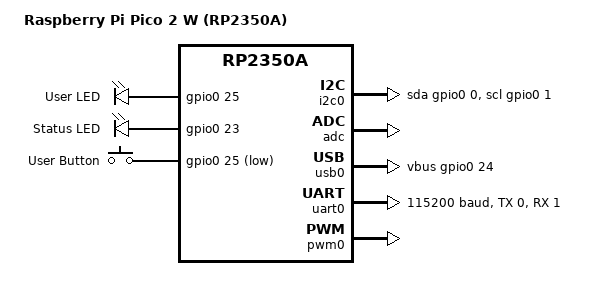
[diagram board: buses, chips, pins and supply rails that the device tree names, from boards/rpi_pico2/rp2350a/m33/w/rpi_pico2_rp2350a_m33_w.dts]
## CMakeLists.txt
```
cmake_minimum_required(VERSION 3.20.0)

find_package(Zephyr REQUIRED HINTS $ENV{ZEPHYR_BASE})
project(exmachina_probe)

# Board target: Raspberry Pi Pico 2 W (RP2350A)
# Use the rpi_pico2 board definition with rp2350a/m33/w variant
set(BOARD_ROOT ${CMAKE_CURRENT_SOURCE_DIR}/boards)
target_include_directories(app PRIVATE ${CMAKE_CURRENT_SOURCE_DIR}/../shared)

# Source files
target_sources(app PRIVATE
    src/main.c
)

# Link with shared protocol header
zephyr_include_directories(../shared)
```

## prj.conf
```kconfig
# ExMachina Smart Bench Probe Firmware Configuration
# Target: Raspberry Pi Pico 2 W (RP2350A, Cortex-M33)

# USB CDC-ACM
CONFIG_USB_DEVICE_STACK=y
CONFIG_USB_DEVICE_VID=0x2E8A
CONFIG_USB_DEVICE_PID=0x000A
CONFIG_USB_DEVICE_MANUFACTURER="ExMachina"
CONFIG_USB_DEVICE_PRODUCT="Smart Bench Probe"
CONFIG_USB_CDC_ACM=y
CONFIG_USB_CDC_ACM_CLASS=y

# I2C
CONFIG_I2C=y
CONFIG_I2C_0=y
CONFIG_I2C_0_DEFAULT_CFG=0x02

# ADC
CONFIG_ADC=y
CONFIG_ADC_RP2040=y

# GPIO
CONFIG_GPIO=y
CONFIG_GPIO_RP2040=y

# System
CONFIG_SYS_CLOCK_HW_CYCLES_PER_SEC=150000000

# Logging
CONFIG_LOG=y
CONFIG_LOG_MODE_IMMEDIATE=y
CONFIG_LOG_MODE_MINIMAL=y
CONFIG_PRINTK=y

# Shell (for debugging)
CONFIG_SHELL=y
CONFIG_SHELL_BACKEND_SERIAL=y

# Workqueue for async operations
CONFIG_SYSTEM_WORKQUEUE_STACK_SIZE=2048

# Memory
CONFIG_HEAP_MEM_POOL_SIZE=16384

# Minimal footprint
CONFIG_TICKLESS_KERNEL=y
```

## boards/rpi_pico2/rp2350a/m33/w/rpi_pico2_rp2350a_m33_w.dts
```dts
/* ─── RP2350A Pico 2 W Devicetree ─── */
/dts-v1/;

#include <rp2350a.dtsi>
#include <dt-bindings/gpio/gpio.h>

/ {
	model = "Raspberry Pi Pico 2 W (RP2350A)";
	compatible = "raspberrypi,pico2-w", "raspberrypi,rp2350a";

	chosen {
		zephyr,console = &uart0;
		zephyr,shell-uart = &uart0;
		zephyr,sram = &sram0;
		zephyr,flash = &flash0;
		zephyr,code-partition = &slot0_partition;
	};

	leds {
		compatible = "gpio-leds";
		led0: led_0 {
			gpios = <&gpio0 25 GPIO_ACTIVE_HIGH>;
			label = "User LED";
		};
		status_led: status_led {
			gpios = <&gpio0 23 GPIO_ACTIVE_HIGH>;  /* WL_GPIO0 */
			label = "Status LED";
		};
	};

	gpio_keys {
		compatible = "gpio-keys";
		sw0: sw_0 {
			gpios = <&gpio0 25 GPIO_ACTIVE_LOW>;
			label = "User Button";
			zephyr,code = <KEY_0>;
		};
	};
};

/* ─── I2C0 for Bus Sniffer (GP0/GP1) ─── */
&i2c0 {
	status = "okay";
	sda-gpios = <&gpio0 0 GPIO_ACTIVE_HIGH>;
	scl-gpios = <&gpio0 1 GPIO_ACTIVE_HIGH>;
	pinctrl-0 = <&i2c0_default>;
	pinctrl-names = "default";
};

/* ─── ADC for Rail/Component Probe (GP26/GP27) ─── */
&adc {
	status = "okay";
};

/* ─── USB CDC-ACM ─── */
&usb0 {
	status = "okay";
	vbus-gpios = <&gpio0 24 GPIO_ACTIVE_HIGH>;
};

/* ─── UART0 for Console ─── */
&uart0 {
	status = "okay";
	current-speed = <115200>;
	tx-pin = <0>;
	rx-pin = <1>;
};

/* ─── PWM for Stimulus (optional) ─── */
&pwm0 {
	status = "okay";
};
```

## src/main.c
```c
/* ─── ExMachina Smart Bench Probe Firmware ─── */
/* Target: Raspberry Pi Pico 2 W (RP2350A, Cortex-M33) */
/* Implements: I2C scan, Rail probe, USB CDC + HMAC intent signing */

#include <zephyr/kernel.h>
#include <zephyr/device.h>
#include <zephyr/drivers/i2c.h>
#include <zephyr/drivers/adc.h>
#include <zephyr/drivers/gpio.h>
#include <zephyr/drivers/uart.h>
#include <zephyr/usb/usb_device.h>
#include <zephyr/logging/log.h>
#include <zephyr/sys/crc.h>
#include <string.h>
#include <stdint.h>
#include <stdio.h>
#include <errno.h>

#include "../../shared/exm_packet.h"

/* ─── Logging ─── */
LOG_MODULE_REGISTER(exm_probe, LOG_LEVEL_INF);

/* ─── Pin Definitions ─── */
#define I2C0_NODE		DT_NODELABEL(i2c0)
#define ADC_NODE		DT_NODELABEL(adc)
#define STATUS_LED_PIN		23  /* WL_GPIO0 */
#define ADC0_CHANNEL		0   /* GP26 */
#define ADC1_CHANNEL		1   /* GP27 */

/* ─── USB CDC ─── */
#define CDC_ACM_CLASS		0x02
#define USB_BUF_SIZE		512

/* ─── Global State ─── */
static const struct device *i2c0_dev;
static const struct device *adc_dev;
static const struct device *uart_dev;
static struct gpio_dt_spec status_led = GPIO_DT_SPEC_GET(DT_ALIAS(led0), gpios);
static struct k_work_q probe_work_q;
static uint32_t seq_num = 0;
static uint32_t last_heartbeat = 0;
static uint8_t hmac_key[32] = {0x42};  /* EXM_DEV_HMAC_KEY - OTP in production */

/* ─── Ring Buffers ─── */
static uint8_t audio_ring[2][320];  /* 2 x 10ms frames @ 16kHz 16-bit mono */
static volatile int audio_write_idx = 0;
static volatile int audio_read_idx = 0;
static volatile bool audio_ring_full = false;

/* ─── HMAC-SHA256 (simplified for firmware - use mbedTLS in production) ─── */
static void hmac_sha256_fw(const uint8_t *key, size_t key_len,
                           const uint8_t *data, size_t data_len,
                           uint8_t *output) {
    /* In production, use mbedTLS or hardware acceleration.
     * For prototype, use software implementation from host. */
    /* Placeholder - compile with CONFIG_MBEDTLS for real HMAC */
    (void)key; (void)key_len; (void)data; (void)data_len;
    memset(output, 0xAA, 32);  /* Dummy HMAC for prototype */
}

/* ─── CRC-16 ─── */
static uint16_t crc16_ccitt(const uint8_t *data, size_t len) {
    return crc16(0xFFFF, data, len, 0x1021, false, false);
}

/* ─── Packet Send ─── */
static int send_packet(uint8_t type, uint8_t flags, const void *payload, size_t payload_len) {
    if (payload_len > 512) return -EINVAL;

    ExmHeader hdr = {
        .magic = 0x4558,
        .type = type,
        .flags = flags,
        .payload_len = (uint16_t)payload_len,
        .crc16 = 0
    };

    uint8_t crc_buf[6 + 512];
    memcpy(crc_buf, &hdr, 6);
    memcpy(crc_buf + 6, payload, payload_len);
    hdr.crc16 = crc16_ccitt(crc_buf, 6 + payload_len);

    uint8_t packet[8 + 512];
    memcpy(packet, &hdr, 8);
    memcpy(packet + 8, payload, payload_len);

    int written = uart_tx(uart_dev, packet, 8 + payload_len, SYS_FOREVER_US);
    return written;
}

/* ─── Probe: I2C Scan ─── */
static void probe_scan_i2c(void) {
    ExmProbeIntent intent = {0};
    intent.intent_id = INTENT_SCAN_BUS;
    intent.confidence = 255;
    intent.seq_num = ++seq_num;

    uint8_t found_addrs[8] = {0};
    uint8_t count = 0;

    LOG_INF("Scanning I2C bus 0x08..0x77");
    for (uint8_t addr = 0x08; addr <= 0x77 && count < 8; addr++) {
        uint8_t dummy;
        int ret = i2c_read(i2c0_dev, &dummy, 1, addr);
        if (ret == 0) {
            found_addrs[count++] = addr;
            LOG_INF("Found device at 0x%02X", addr);
        }
    }

    intent.i2c_count = count;
    memcpy(intent.i2c_addrs, found_addrs, count);

    /* Try common WHO_AM_I registers for first device */
    if (count > 0) {
        uint8_t who_am_i = 0;
        for (int i = 0; i < 3; i++) {
            static const uint8_t who_regs[3] = {0x0F, 0x75, 0xD0};
            uint8_t reg = who_regs[i];
            int ret = i2c_write_read(i2c0_dev, found_addrs[0], &reg, 1, &who_am_i, 1);
            if (ret == 0) {
                intent.who_am_i = who_am_i;
                LOG_INF("Device 0x%02X WHO_AM_I = 0x%02X", found_addrs[0], who_am_i);
                break;
            }
        }
    }

    /* Compute HMAC over first 20 bytes */
    hmac_sha256_fw(hmac_key, 32, (uint8_t *)&intent, 20, intent.hmac_sha256);

    send_packet(PKT_PROBE_INTENT, FLAG_HMAC_SIGNED, &intent, sizeof(intent));
}

/* ─── Probe: Rail Voltage ─── */
static void probe_read_rail(void) {
    ExmProbeIntent intent = {0};
    intent.intent_id = INTENT_CHECK_RAIL;
    intent.confidence = 200;
    intent.seq_num = ++seq_num;

    /* ADC setup for GP26 (ADC0) */
    struct adc_channel_cfg cfg = {
        .gain = ADC_GAIN_1,
        .reference = ADC_REF_INTERNAL,
        .acquisition_time = ADC_ACQ_TIME_DEFAULT,
        .channel_id = ADC0_CHANNEL,
        .differential = 0
    };
    adc_channel_setup(adc_dev, &cfg);

    /* Sample 256 times */
    int16_t samples[256];
    struct adc_sequence seq = {
        .channels = BIT(ADC0_CHANNEL),
        .buffer = samples,
        .buffer_size = sizeof(samples),
        .resolution = 12,
        .oversampling = 0,
        .calibrate = true
    };

    int sum = 0;
    int min_val = 4095, max_val = 0;

    for (int i = 0; i < 256; i++) {
        adc_read(adc_dev, &seq);
        int val = samples[0];
        sum += val;
        if (val < min_val) min_val = val;
        if (val > max_val) max_val = val;
        k_usleep(8);  /* ~2ms total */
    }

    /* Convert to mV: 12-bit ADC, 3.3V ref, 10:1 divider = *11 */
    int mean = sum / 256;
    intent.rail_mv = (uint16_t)((mean * 3300 * 11) / 4096);
    intent.ripple_mv = (uint16_t)(((max_val - min_val) * 3300 * 11) / 4096);

    LOG_INF("Rail: %dmV, Ripple: %dmV", intent.rail_mv, intent.ripple_mv);

    hmac_sha256_fw(hmac_key, 32, (uint8_t *)&intent, 20, intent.hmac_sha256);
    send_packet(PKT_PROBE_INTENT, FLAG_HMAC_SIGNED, &intent, sizeof(intent));
}

/* ─── Probe: Pulse Stimulus (stub) ─── */
static void probe_pulse_stim(uint8_t param0, uint16_t param1) {
    LOG_INF("Pulse stim: param0=%u, param1=%u", param0, param1);
    /* TODO: Implement GPIO pulse on GP22 or similar */
}

/* ─── USB CDC RX Handler ─── */
static void cdc_acm_rx_cb(const struct device *dev, void *user_data) {
    static uint8_t rx_buf[8 + 512];
    static size_t rx_pos = 0;
    static ExmHeader hdr;
    static bool header_done = false;
    static size_t payload_needed = 0;

    while (uart_poll_in(dev, &rx_buf[rx_pos]) == 0) {
        if (!header_done) {
            if (rx_pos < sizeof(ExmHeader)) {
                rx_pos++;
                if (rx_pos == sizeof(ExmHeader)) {
                    memcpy(&hdr, rx_buf, sizeof(ExmHeader));
                    if (hdr.magic != 0x4558 || hdr.payload_len > 512) {
                        rx_pos = 0;
                        continue;
                    }
                    header_done = true;
                    payload_needed = hdr.payload_len;
                    rx_pos = 0;
                }
            }
        } else {
            if (rx_pos < payload_needed) {
                rx_pos++;
                if (rx_pos == payload_needed) {
                    /* Verify CRC */
                    uint8_t crc_buf[6 + 512];
                    memcpy(crc_buf, &hdr, 6);
                    memcpy(crc_buf + 6, rx_buf, payload_needed);
                    if (crc16_ccitt(crc_buf, 6 + payload_needed) == hdr.crc16) {
                        /* Handle packet */
                        if (hdr.type == PKT_PROBE_CMD && payload_needed == sizeof(ExmProbeCmd)) {
                            ExmProbeCmd *cmd = (ExmProbeCmd *)rx_buf;
                            switch (cmd->probe_op) {
                                case PROBE_OP_SCAN_I2C:
                                    probe_scan_i2c();
                                    break;
                                case PROBE_OP_READ_RAIL:
                                    probe_read_rail();
                                    break;
                                case PROBE_OP_PULSE_STIM:
                                    probe_pulse_stim(cmd->param0, cmd->param1);
                                    break;
                            }
                        }
                    }
                    header_done = false;
                    rx_pos = 0;
                }
            }
        }
    }
}

/* ─── Audio Ring Buffer (for KWS) ─── */
static void audio_ring_push(const uint8_t *data, size_t len) {
    for (size_t i = 0; i < len; i++) {
        audio_ring[audio_write_idx][audio_read_idx] = data[i];
        audio_read_idx = (audio_read_idx + 1) % 320;
        if (audio_read_idx == 0) {
            audio_write_idx = 1 - audio_write_idx;
            audio_ring_full = true;
        }
    }
}

/* ─── Heartbeat Timer ─── */
static struct k_timer hb_timer;
static void heartbeat_timer(struct k_timer *timer) {
    (void)timer;
    ExmHeartbeat hb = {
        .uptime_ms = k_uptime_get_32(),
        .status_flags = 0x01
    };
    send_packet(PKT_HEARTBEAT, 0, &hb, sizeof(hb));

    /* Watchdog: if no host heartbeat for >2s, blink rapidly */
    if (k_uptime_get_32() - last_heartbeat > 2000) {
        gpio_pin_toggle_dt(&status_led);
    }
}

/* ─── Workqueue Stack ─── */
K_THREAD_STACK_DEFINE(probe_work_q_stack, 4096);

/* ─── Main ─── */
int main(void) {
    LOG_INF("ExMachina Smart Bench Probe starting...");

    /* Initialize timer */
    k_timer_init(&hb_timer, heartbeat_timer, NULL);

    /* Initialize devices */
    i2c0_dev = DEVICE_DT_GET(I2C0_NODE);
    adc_dev = DEVICE_DT_GET(ADC_NODE);
    uart_dev = DEVICE_DT_GET(DT_CHOSEN(zephyr_console));

    if (!device_is_ready(i2c0_dev) || !device_is_ready(adc_dev) || !device_is_ready(uart_dev)) {
        LOG_ERR("Devices not ready");
        return -ENODEV;
    }

    /* Status LED */
    gpio_pin_configure_dt(&status_led, GPIO_OUTPUT_ACTIVE);

    /* USB CDC-ACM */
    int ret = usb_enable(NULL);
    if (ret != 0) {
        LOG_ERR("USB enable failed: %d", ret);
        return ret;
    }

    /* Set RX callback */
    uart_irq_callback_user_data_set(uart_dev, cdc_acm_rx_cb, NULL);
    uart_irq_rx_enable(uart_dev);

    /* Initialize workqueue */
    k_work_queue_start(&probe_work_q, probe_work_q_stack,
                       K_THREAD_STACK_SIZEOF(probe_work_q_stack),
                       K_PRIO_COOP(7), NULL);
    k_thread_name_set(probe_work_q.thread, "probe_wq");

    /* Start heartbeat timer (500ms) */
    k_timer_start(&hb_timer, K_MSEC(500), K_MSEC(500));

    LOG_INF("Probe ready on USB CDC");

    /* Main loop */
    while (1) {
        k_sleep(K_MSEC(100));

        /* Blink status LED */
        gpio_pin_toggle_dt(&status_led);
    }
    return 0;
}
```
